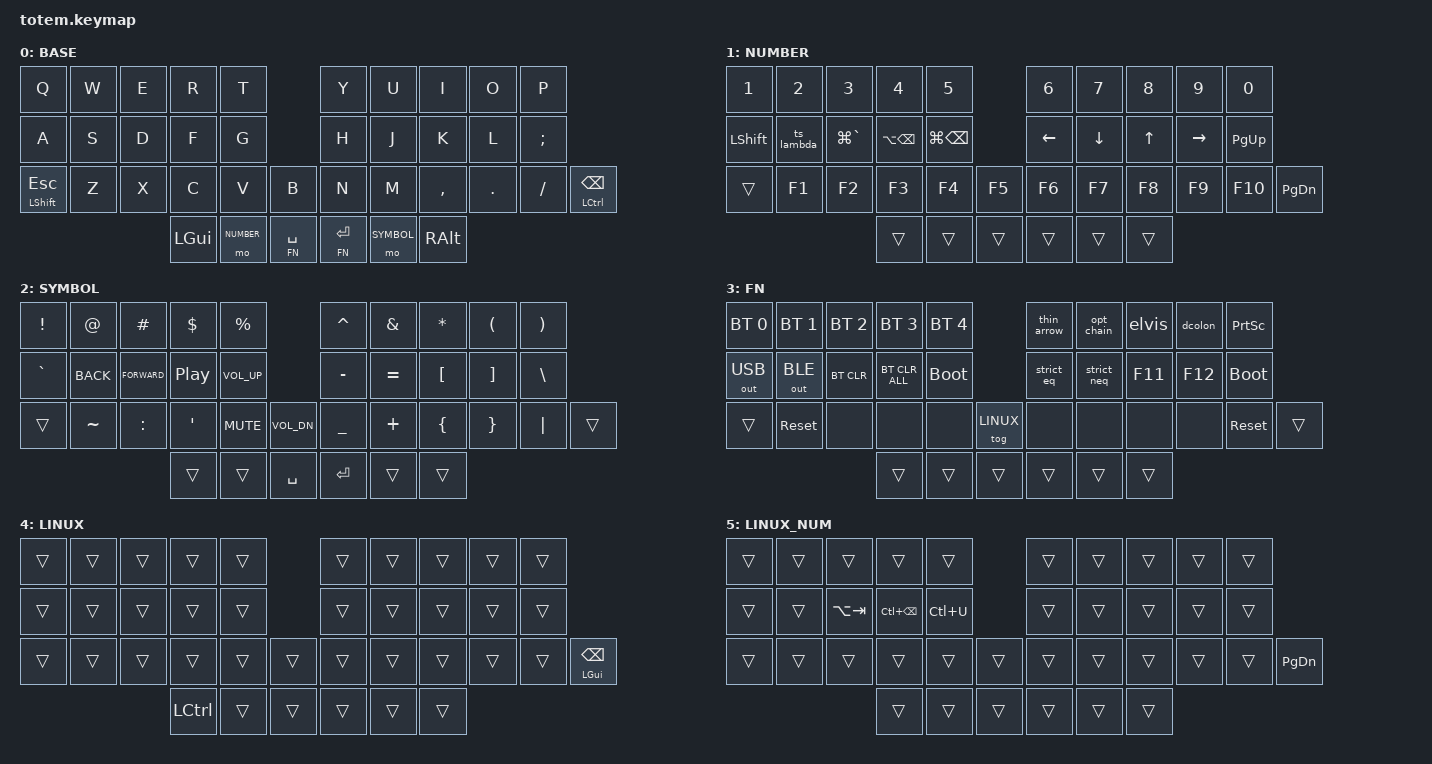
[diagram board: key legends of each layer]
//
//                                                        ▀▀▀▀▀     ▀▀▀▀▀          ▀▀█▀▀
//                                                        ▄▀▀▀▄  ▄  ▄▀▀▀▄  ▄  ▄▀▀▀▄  █  ▄▀▀▀▄
//                                                        █   █  █  █   █  █  █   █  █  █   █
//                                                         ▀▀▀   █   ▀▀▀   █   ▀▀▀   ▀   ▀▀▀
//                                                               █      ▄▄▄█▄▄▄    █   █
//                                                               ▀      █  █  █     █▄█
//                                                             ▀▀▀▀▀    █  █  █      ▀
//                                                                      ▀  ▀  ▀
//
// ▄▄▄▄▄▄▄▄▄▄▄▄▄▄▄▄▄▄▄▄▄▄▄▄▄▄▄▄▄▄▄▄▄▄▄▄▄▄▄▄▄▄▄▄▄▄▄▄▄▄▄▄▄▄▄▄▄▄▄▄▄▄▄▄▄▄▄▄▄▄▄▄▄▄▄▄▄▄▄▄▄▄▄▄▄▄▄▄▄▄▄▄▄▄▄▄▄▄▄▄▄▄▄▄▄▄▄▄▄▄▄▄▄▄▄▄▄▄▄▄▄▄▄▄▄▄▄▄▄▄▄▄▄▄▄▄▄▄▄▄▄▄▄▄▄▄▄▄▄

#include <behaviors.dtsi>
#include <dt-bindings/zmk/bt.h>
#include <dt-bindings/zmk/keys.h>
#include <dt-bindings/zmk/outputs.h>

// Key positions, used by the combos below:
//
//      0  1  2  3  4          5  6  7  8  9
//     10 11 12 13 14         15 16 17 18 19
//  20 21 22 23 24 25      26 27 28 29 30 31
//        32 33 34         35 36 37

#define BASE      0
#define NUMBER    1
#define SYMBOL    2
#define FN        3
#define LINUX     4
#define LINUX_NUM 5

/ {
    behaviors {
        // The built-in &mt is "hold-preferred" with a 200ms term, which fires
        // the modifier as soon as any other key goes down. On the two outer
        // keys that turns a fast "esc" into a stray ctrl. "balanced" only
        // commits to the hold once the interrupting key is pressed *and*
        // released, which keeps Ctrl+C snappy without stealing taps.
        //
        // Defined as a new behavior rather than overriding &mt, since
        // redefining mt would clobber the built-in for every other use.
        bhm: balanced_hold_tap {
            compatible = "zmk,behavior-hold-tap";
            #binding-cells = <2>;
            flavor = "balanced";
            tapping-term-ms = <200>;
            quick-tap-ms = <175>;
            bindings = <&kp>, <&kp>;
        };
    };

    macros {
        // Carried over from the Corne keymap, same label and same position.
        ts_lambda: ts_lambda {
            compatible = "zmk,behavior-macro";
            #binding-cells = <0>;
            bindings = <&kp LPAR &kp RPAR &kp EQUAL &kp GT>;
            label = "TS_LAMBDA";
        };

        // Kotlin lambda / return type: ->
        thin_arrow: thin_arrow {
            compatible = "zmk,behavior-macro";
            #binding-cells = <0>;
            bindings = <&kp MINUS &kp GT>;
            label = "THIN_ARROW";
        };

        // Safe call, TypeScript and Kotlin: ?.
        opt_chain: opt_chain {
            compatible = "zmk,behavior-macro";
            #binding-cells = <0>;
            bindings = <&kp QMARK &kp DOT>;
            label = "OPT_CHAIN";
        };

        // Kotlin elvis operator: ?:
        elvis: elvis {
            compatible = "zmk,behavior-macro";
            #binding-cells = <0>;
            bindings = <&kp QMARK &kp COLON>;
            label = "ELVIS";
        };

        // Method reference / qualified name: ::
        dcolon: dcolon {
            compatible = "zmk,behavior-macro";
            #binding-cells = <0>;
            bindings = <&kp COLON &kp COLON>;
            label = "DCOLON";
        };

        // TypeScript strict equality: ===
        strict_eq: strict_eq {
            compatible = "zmk,behavior-macro";
            #binding-cells = <0>;
            bindings = <&kp EQUAL &kp EQUAL &kp EQUAL>;
            label = "STRICT_EQ";
        };

        // TypeScript strict inequality: !==
        strict_neq: strict_neq {
            compatible = "zmk,behavior-macro";
            #binding-cells = <0>;
            bindings = <&kp EXCL &kp EQUAL &kp EQUAL>;
            label = "STRICT_NEQ";
        };
    };

    combos {
        compatible = "zmk,combos";

        // All combos are scoped to the base layer so they cannot fire while a
        // symbol or number layer is held.

        // TAB lost its outer column key. "qw" does not occur in English.
        combo_tab {
            timeout-ms = <40>;
            key-positions = <0 1>;
            bindings = <&kp TAB>;
            layers = <BASE>;
        };

        // Apostrophe lost its outer column key.
        combo_sqt {
            timeout-ms = <40>;
            key-positions = <18 19>;
            bindings = <&kp SQT>;
            layers = <BASE>;
        };

        combo_del {
            timeout-ms = <40>;
            key-positions = <28 29>;
            bindings = <&kp DEL>;
            layers = <BASE>;
        };

        // Types one SCREAMING_SNAKE_CASE identifier, then releases itself.
        // The built-in continue-list already includes UNDERSCORE.
        combo_caps_word {
            timeout-ms = <40>;
            key-positions = <21 22>;
            bindings = <&caps_word>;
            layers = <BASE>;
        };

        // Second path to ESC, for vim. require-prior-idle-ms is what stops a
        // fast "jkjk" line motion in normal mode from being read as a combo:
        // the combo is only considered if nothing was typed in the last 150ms.
        combo_esc {
            timeout-ms = <30>;
            require-prior-idle-ms = <150>;
            key-positions = <16 17>;
            bindings = <&kp ESC>;
            layers = <BASE>;
        };
    };

    keymap {
        compatible = "zmk,keymap";

        // Convention used throughout: the outer keys (20, 31) and the left
        // inner thumb (32) are &trans on every non-base layer (except PG_DN
        // on NUMBER, position 31), so the mods
        // stay live everywhere and the LINUX overlay cannot shadow them.

        base {
            display-name = "BASE";

            // ------------------------------------------------------------------------------------
            // |  Q  |  W  |  E  |  R  |  T  |        |  Y  |  U  |  I  |  O  |  P  |
            // |  A  |  S  |  D  |  F  |  G  |        |  H  |  J  |  K  |  L  |  ;  |
            // | SHFT/ESC |  Z  |  X  |  C  |  V  |  B  |  N  |  M  |  ,  |  .  |  /  | CTRL/BSPC |
            //                 | GUI | NUM | SPC |    | ENT | SYM | ALT |

            bindings = <
&kp Q            &kp W  &kp E  &kp R     &kp T                       &kp Y        &kp U      &kp I      &kp O    &kp P
&kp A            &kp S  &kp D  &kp F     &kp G                       &kp H        &kp J      &kp K      &kp L    &kp SEMI
&bhm LSHIFT ESC  &kp Z  &kp X  &kp C     &kp V       &kp B           &kp N        &kp M      &kp COMMA  &kp DOT  &kp FSLH  &bhm LCTRL BSPC
                               &kp LGUI  &mo NUMBER  &lt FN SPACE    &lt FN ENTER &mo SYMBOL &kp RALT
            >;
        };

        number {
            display-name = "NUMBER";

            // ------------------------------------------------------------------------------------
            // |  1  |  2  |  3  |  4  |  5  |        |  6  |  7  |  8  |  9  |  0  |
            // | SHFT| ()=>| APP | DELW| DELL|        | LFT | DWN |  UP | RGT | PGUP|
            // |     | F1  | F2  | F3  | F4  | F5  |  | F6  | F7  | F8  | F9  | F10 | PGDN|
            //                       |     |     |    |     |     |     |
            //
            // PG_DN sits on the right outer key, directly under PG_UP. It is
            // the one deliberate exception to the &trans-outer-key convention
            // (the Corne had PG_UP/PG_DN side by side; there is no room here).

            bindings = <
&kp N1      &kp N2      &kp N3         &kp N4        &kp N5          &kp N6    &kp N7    &kp N8  &kp N9     &kp N0
&kp LSHFT   &ts_lambda  &kp LG(GRAVE)  &kp LA(BSPC)  &kp LG(BSPC)    &kp LEFT  &kp DOWN  &kp UP  &kp RIGHT  &kp PG_UP
&trans      &kp F1      &kp F2         &kp F3        &kp F4  &kp F5  &kp F6    &kp F7    &kp F8  &kp F9     &kp F10  &kp PG_DN
                                       &trans        &trans  &trans  &trans    &trans    &trans
            >;
        };

        symbol {
            display-name = "SYMBOL";

            // ------------------------------------------------------------------------------------
            // |  !  |  @  |  #  |  $  |  %  |        |  ^  |  &  |  *  |  (  |  )  |
            // |  `  | BACK| FWD | PLAY| VOL+|        |  -  |  =  |  [  |  ]  |  \  |
            // |     |  ~  |  :  |  '  | MUTE| VOL-|  |  _  |  +  |  {  |  }  | "|" |     |
            //                       |     |     | SPC|  ENT|     |     |

            bindings = <
&kp EXCL   &kp AT      &kp HASH    &kp DLLR   &kp PRCNT            &kp CARET  &kp AMPS   &kp ASTRK  &kp LPAR  &kp RPAR
&kp GRAVE  &kp K_BACK  &kp K_FORWARD  &kp C_PP  &kp C_VOL_UP      &kp MINUS  &kp EQUAL  &kp LBKT   &kp RBKT  &kp BSLH
&trans     &kp TILDE   &kp COLON   &kp SQT    &kp K_MUTE  &kp C_VOL_DN    &kp UNDER  &kp PLUS  &kp LBRC  &kp RBRC  &kp PIPE  &trans
                                   &trans     &trans      &kp SPACE       &kp RET    &trans    &trans
            >;
        };

        fn {
            display-name = "FN";

            // ------------------------------------------------------------------------------------
            // | BT0 | BT1 | BT2 | BT3 | BT4 |        |  -> |  ?. |  ?: |  :: | PSCR|
            // | USB | BLE | BCLR| BCLA| BOOT|        | === | !== | F11 | F12 | BOOT|
            // |     | RST |     |     |     | LNX |  |     |     |     |     | RST |     |
            //
            // &bootloader and &sys_reset act on the half they are pressed on, so
            // each half gets its own copy (as on the Corne).
            //                       |     |     |    |     |     |     |

            bindings = <
&bt BT_SEL 0  &bt BT_SEL 1  &bt BT_SEL 2  &bt BT_SEL 3   &bt BT_SEL 4               &thin_arrow  &opt_chain   &elvis   &dcolon  &kp PRINTSCREEN
&out OUT_USB  &out OUT_BLE  &bt BT_CLR    &bt BT_CLR_ALL &bootloader                &strict_eq   &strict_neq  &kp F11  &kp F12  &bootloader
&trans        &sys_reset    &none         &none          &none        &tog LINUX    &none        &none        &none    &none    &sys_reset &trans
                                          &trans         &trans       &trans        &trans       &trans       &trans
            >;
        };

        linux {
            display-name = "LINUX";

            // Overlay toggled from FN. Trades GUI and CTRL so that Ctrl+C/V/Z
            // work natively on Linux: the left thumb becomes CTRL and the right
            // outer hold becomes GUI. Left Shift/Esc is untouched. Everything else falls through to the
            // layer below, which is why the rest of this layer is &trans.

            bindings = <
&trans          &trans  &trans  &trans  &trans           &trans  &trans  &trans  &trans  &trans
&trans          &trans  &trans  &trans  &trans           &trans  &trans  &trans  &trans  &trans
&trans          &trans  &trans  &trans  &trans  &trans   &trans  &trans  &trans  &trans  &trans  &bhm LGUI BSPC
                                &kp LCTRL &trans &trans  &trans  &trans  &trans
            >;
        };

        linux_num {
            display-name = "LINUX_NUM";

            // Reached by the conditional layer below, because LINUX sits above
            // NUMBER and so cannot patch it directly. Only the three
            // macOS-specific bindings on NUMBER are replaced.
            //
            // Position 31 repeats PG_DN: &trans here falls through to LINUX
            // (GUI/BSPC) before it ever reaches NUMBER.
            //
            // LC(U) is readline/terminal line-kill, not a universal Linux GUI
            // binding -- see the README.

            bindings = <
&trans  &trans  &trans        &trans         &trans       &trans  &trans  &trans  &trans  &trans
&trans  &trans  &kp LA(TAB)   &kp LC(BSPC)   &kp LC(U)    &trans  &trans  &trans  &trans  &trans
&trans  &trans  &trans        &trans         &trans  &trans  &trans  &trans  &trans  &trans  &trans  &kp PG_DN
                              &trans         &trans  &trans  &trans  &trans  &trans
            >;
        };

        extra1 { status = "reserved"; };
    };

    conditional_layers {
        compatible = "zmk,conditional-layers";

        fn_layer {
            if-layers = <NUMBER SYMBOL>;
            then-layer = <FN>;
        };

        linux_number {
            if-layers = <NUMBER LINUX>;
            then-layer = <LINUX_NUM>;
        };
    };
};
